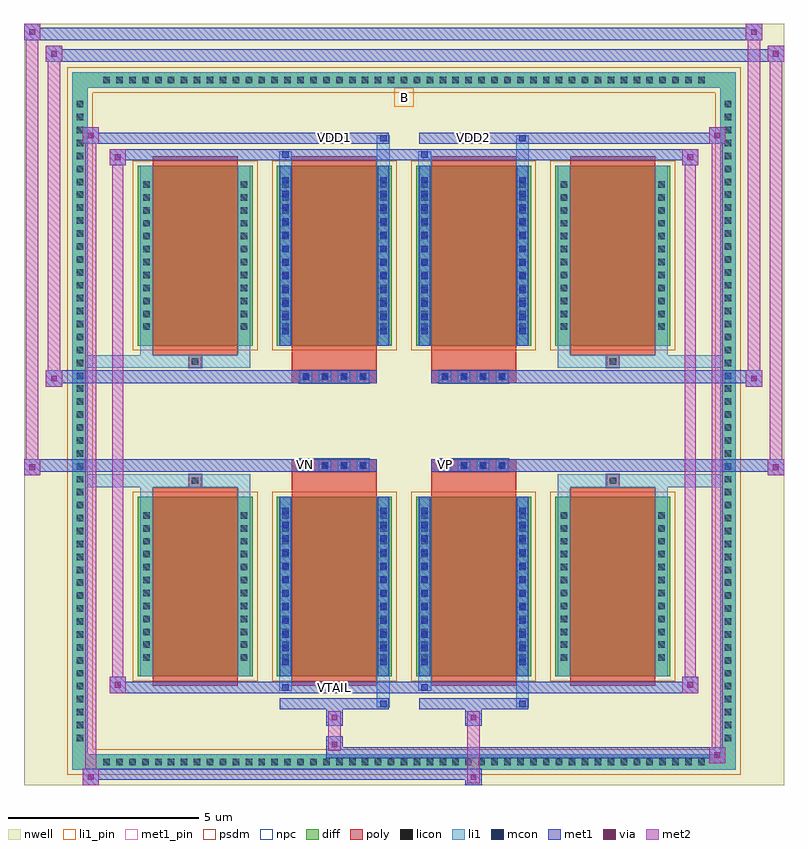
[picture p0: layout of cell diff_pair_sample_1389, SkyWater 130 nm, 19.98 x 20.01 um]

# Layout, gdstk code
import gdstk
lib = gdstk.Library(unit=1e-6, precision=5e-09)
def R(c, l, rs):  # rectangles x0, y0, x1, y1
    for r in rs: c.add(gdstk.rectangle(r[:2], r[2:], *l))
def A(c, l, x, y, w, h, nx, ny, dx, dy):  # array of equal rectangles
    R(c, l, [(x+i*dx, y+j*dy, x+i*dx+w, y+j*dy+h) for i in range(nx) for j in range(ny)])
def P(c, l, *ps):  # polygons
    for p in ps: c.add(gdstk.Polygon(p, *l))
nwell = (64, 20)
diff = (65, 20)
poly = (66, 20)
licon = (66, 44)
li1_pin = (67, 16)
li1 = (67, 20)
mcon = (67, 44)
met1_pin = (68, 16)
met1 = (68, 20)
via = (68, 44)
met2 = (69, 20)
psdm = (94, 20)
npc = (95, 20)

diff_pair_sample_1389 = lib.new_cell('diff_pair_sample_1389')
R(diff_pair_sample_1389, nwell, [(-9.99,-9.57,9.99,10.44), (-7.31,-7.76,-0.01,-0.8), (0.01,-7.76,7.31,-0.8), (-7.31,0.8,-0.01,7.76), (0.01,0.8,7.31,7.76)])
A(diff_pair_sample_1389, diff, -8.025, -9.17, 0.41, 0.41, 47, 2, 0.34, 17.93)
A(diff_pair_sample_1389, diff, -8.72, -8.535, 0.41, 0.41, 1, 50, 0, 0.34)
A(diff_pair_sample_1389, diff, 8.31, -8.535, 0.41, 0.41, 1, 50, 0, 0.34)
A(diff_pair_sample_1389, diff, -7, -6.715, 3.02, 4.73, 4, 2, 3.66, 8.7)
R(diff_pair_sample_1389, diff, [(-8.025,-9.17,8.025,-8.76), (-8.72,-8.535,-8.31,8.535), (8.31,-8.535,8.72,8.535), (-8.025,8.76,8.025,9.17)])
P(diff_pair_sample_1389, diff, [(8.72,9.17),(-8.72,9.17),(-8.72,-8.76),(-8.31,-8.76),(-8.31,8.76),(8.31,8.76),(8.31,-8.76),(-8.31,-8.76),(-8.72,-8.76),(-8.72,-9.17),(8.72,-9.17)])
A(diff_pair_sample_1389, poly, -6.61, -6.965, 2.24, 5.23, 4, 2, 3.66, 8.7)
A(diff_pair_sample_1389, poly, -2.745, -1.33, 0.33, 0.33, 4, 2, 0.5, 2.33)
A(diff_pair_sample_1389, poly, 0.915, -1.33, 0.33, 0.33, 4, 2, 0.5, 2.33)
R(diff_pair_sample_1389, poly, [(-5.655,-1.735,-5.325,-1.405), (-5.655,-1.735,-5.325,-1.405), (-2.95,-1.735,-0.71,-1.33), (0.71,-1.735,2.95,-1.33), (5.325,-1.735,5.655,-1.405), (5.325,-1.735,5.655,-1.405), (-2.95,-1.33,-0.71,-1), (0.71,-1.33,2.95,-1), (-2.95,1,-0.71,1.33), (0.71,1,2.95,1.33), (-2.95,1.33,-0.71,1.735), (0.71,1.33,2.95,1.735), (-5.655,1.405,-5.325,1.735), (-5.655,1.405,-5.325,1.735), (5.325,1.405,5.655,1.735), (5.325,1.405,5.655,1.735)])
A(diff_pair_sample_1389, licon, -7.905, -9.05, 0.17, 0.17, 47, 2, 0.34, 17.93)
A(diff_pair_sample_1389, licon, -8.6, -8.415, 0.17, 0.17, 1, 50, 0, 0.34)
A(diff_pair_sample_1389, licon, 8.43, -8.415, 0.17, 0.17, 1, 50, 0, 0.34)
A(diff_pair_sample_1389, licon, -6.86, -6.305, 0.17, 0.17, 1, 12, 0, 0.34)
A(diff_pair_sample_1389, licon, -4.29, -6.305, 0.17, 0.17, 1, 12, 0, 0.34)
A(diff_pair_sample_1389, licon, -3.2, -6.305, 0.17, 0.17, 1, 12, 0, 0.34)
A(diff_pair_sample_1389, licon, -0.63, -6.305, 0.17, 0.17, 1, 12, 0, 0.34)
A(diff_pair_sample_1389, licon, 0.46, -6.305, 0.17, 0.17, 1, 12, 0, 0.34)
A(diff_pair_sample_1389, licon, 3.03, -6.305, 0.17, 0.17, 1, 12, 0, 0.34)
A(diff_pair_sample_1389, licon, 4.12, -6.305, 0.17, 0.17, 1, 12, 0, 0.34)
A(diff_pair_sample_1389, licon, 6.69, -6.305, 0.17, 0.17, 1, 12, 0, 0.34)
A(diff_pair_sample_1389, licon, -2.665, -1.25, 0.17, 0.17, 4, 2, 0.5, 2.33)
A(diff_pair_sample_1389, licon, 0.995, -1.25, 0.17, 0.17, 4, 2, 0.5, 2.33)
A(diff_pair_sample_1389, licon, -6.86, 2.395, 0.17, 0.17, 1, 12, 0, 0.34)
A(diff_pair_sample_1389, licon, -4.29, 2.395, 0.17, 0.17, 1, 12, 0, 0.34)
A(diff_pair_sample_1389, licon, -3.2, 2.395, 0.17, 0.17, 1, 12, 0, 0.34)
A(diff_pair_sample_1389, licon, -0.63, 2.395, 0.17, 0.17, 1, 12, 0, 0.34)
A(diff_pair_sample_1389, licon, 0.46, 2.395, 0.17, 0.17, 1, 12, 0, 0.34)
A(diff_pair_sample_1389, licon, 3.03, 2.395, 0.17, 0.17, 1, 12, 0, 0.34)
A(diff_pair_sample_1389, licon, 4.12, 2.395, 0.17, 0.17, 1, 12, 0, 0.34)
A(diff_pair_sample_1389, licon, 6.69, 2.395, 0.17, 0.17, 1, 12, 0, 0.34)
R(diff_pair_sample_1389, licon, [(-5.575,-1.655,-5.405,-1.485), (5.405,-1.655,5.575,-1.485), (-5.575,1.485,-5.405,1.655), (5.405,1.485,5.575,1.655)])
R(diff_pair_sample_1389, li1_pin, [(-0.25,8.26,0.25,8.76)])
A(diff_pair_sample_1389, li1, -7.985, -9.13, 0.33, 0.33, 47, 2, 0.34, 17.93)
A(diff_pair_sample_1389, li1, -8.68, -8.495, 0.33, 0.33, 1, 50, 0, 0.34)
A(diff_pair_sample_1389, li1, 8.35, -8.495, 0.33, 0.33, 1, 50, 0, 0.34)
A(diff_pair_sample_1389, li1, -3.2, -6.415, 0.17, 0.17, 1, 12, 0, 0.36)
A(diff_pair_sample_1389, li1, -0.63, -6.415, 0.17, 0.17, 1, 12, 0, 0.36)
A(diff_pair_sample_1389, li1, 0.46, -6.415, 0.17, 0.17, 1, 12, 0, 0.36)
A(diff_pair_sample_1389, li1, 3.03, -6.415, 0.17, 0.17, 1, 12, 0, 0.36)
A(diff_pair_sample_1389, li1, -6.94, -6.385, 0.33, 0.33, 1, 12, 0, 0.34)
A(diff_pair_sample_1389, li1, -4.37, -6.385, 0.33, 0.33, 1, 12, 0, 0.34)
A(diff_pair_sample_1389, li1, -3.28, -6.385, 0.33, 0.33, 1, 12, 0, 0.34)
A(diff_pair_sample_1389, li1, -0.71, -6.385, 0.33, 0.33, 1, 12, 0, 0.34)
A(diff_pair_sample_1389, li1, 0.38, -6.385, 0.33, 0.33, 1, 12, 0, 0.34)
A(diff_pair_sample_1389, li1, 2.95, -6.385, 0.33, 0.33, 1, 12, 0, 0.34)
A(diff_pair_sample_1389, li1, 4.04, -6.385, 0.33, 0.33, 1, 12, 0, 0.34)
A(diff_pair_sample_1389, li1, 6.61, -6.385, 0.33, 0.33, 1, 12, 0, 0.34)
A(diff_pair_sample_1389, li1, -2.745, -1.33, 0.33, 0.33, 4, 2, 0.5, 2.33)
A(diff_pair_sample_1389, li1, 0.915, -1.33, 0.33, 0.33, 4, 2, 0.5, 2.33)
A(diff_pair_sample_1389, li1, -3.2, 2.285, 0.17, 0.17, 1, 12, 0, 0.36)
A(diff_pair_sample_1389, li1, -0.63, 2.285, 0.17, 0.17, 1, 12, 0, 0.36)
A(diff_pair_sample_1389, li1, 0.46, 2.285, 0.17, 0.17, 1, 12, 0, 0.36)
A(diff_pair_sample_1389, li1, 3.03, 2.285, 0.17, 0.17, 1, 12, 0, 0.36)
A(diff_pair_sample_1389, li1, -6.94, 2.315, 0.33, 0.33, 1, 12, 0, 0.34)
A(diff_pair_sample_1389, li1, -4.37, 2.315, 0.33, 0.33, 1, 12, 0, 0.34)
A(diff_pair_sample_1389, li1, -3.28, 2.315, 0.33, 0.33, 1, 12, 0, 0.34)
A(diff_pair_sample_1389, li1, -0.71, 2.315, 0.33, 0.33, 1, 12, 0, 0.34)
A(diff_pair_sample_1389, li1, 0.38, 2.315, 0.33, 0.33, 1, 12, 0, 0.34)
A(diff_pair_sample_1389, li1, 2.95, 2.315, 0.33, 0.33, 1, 12, 0, 0.34)
A(diff_pair_sample_1389, li1, 4.04, 2.315, 0.33, 0.33, 1, 12, 0, 0.34)
A(diff_pair_sample_1389, li1, 6.61, 2.315, 0.33, 0.33, 1, 12, 0, 0.34)
R(diff_pair_sample_1389, li1, [(-8.72,-9.17,-8.31,-8.76), (-8.72,-9.17,-8.31,-8.76), (-8.31,-9.17,8.31,-8.76), (8.31,-9.17,8.72,-8.76), (8.31,-9.17,8.72,-8.76), (-8.72,-8.76,-8.31,8.76), (8.31,-8.76,8.72,8.76), (-0.71,-7.52,-0.38,-6.715), (-0.63,-7.52,-0.46,-7.35), (2.95,-7.52,3.28,-6.715), (3.03,-7.52,3.2,-7.35), (-3.28,-7.09,-2.95,-6.715), (-3.2,-7.09,-3.03,-6.92), (0.38,-7.09,0.71,-6.715), (0.46,-7.09,0.63,-6.92), (-6.94,-6.715,-6.61,-1.985), (-4.37,-6.715,-4.04,-1.985), (-3.28,-6.715,-2.95,-1.985), (-0.71,-6.715,-0.38,-1.985), (0.38,-6.715,0.71,-1.985), (2.95,-6.715,3.28,-1.985), (4.04,-6.715,4.37,-1.985), (6.61,-6.715,6.94,-1.985), (-3.2,-6.415,-3.03,-2.285), (-0.63,-6.415,-0.46,-2.285), (0.46,-6.415,0.63,-2.285), (3.03,-6.415,3.2,-2.285), (-6.94,-1.985,-6.61,-1.405), (-4.37,-1.985,-4.04,-1.405), (4.04,-1.985,4.37,-1.405), (6.61,-1.985,6.94,-1.405), (-8.72,-1.735,-5.655,-1.405), (-6.94,-1.735,-5.655,-1.405), (-5.655,-1.735,-5.325,-1.405), (-5.325,-1.735,-4.04,-1.405), (4.04,-1.735,5.325,-1.405), (5.325,-1.735,5.655,-1.405), (5.325,-1.735,8.72,-1.405), (5.655,-1.735,6.94,-1.405), (-8.72,1.405,-5.655,1.735), (-6.94,1.405,-5.655,1.735), (-6.94,1.405,-6.61,1.985), (-5.655,1.405,-5.325,1.735), (-5.325,1.405,-4.04,1.735), (-4.37,1.405,-4.04,1.985), (4.04,1.405,5.325,1.735), (4.04,1.405,4.37,1.985), (5.325,1.405,5.655,1.735), (5.325,1.405,8.72,1.735), (5.655,1.405,6.94,1.735), (6.61,1.405,6.94,1.985), (-6.94,1.985,-6.61,6.715), (-4.37,1.985,-4.04,6.715), (-3.28,1.985,-2.95,6.715), (-0.71,1.985,-0.38,6.715), (0.38,1.985,0.71,6.715), (2.95,1.985,3.28,6.715), (4.04,1.985,4.37,6.715), (6.61,1.985,6.94,6.715), (-3.2,2.285,-3.03,6.415), (-0.63,2.285,-0.46,6.415), (0.46,2.285,0.63,6.415), (3.03,2.285,3.2,6.415), (-3.28,6.715,-2.95,7.09), (-0.71,6.715,-0.38,7.52), (0.38,6.715,0.71,7.09), (2.95,6.715,3.28,7.52), (-3.2,6.92,-3.03,7.09), (0.46,6.92,0.63,7.09), (-0.63,7.35,-0.46,7.52), (3.03,7.35,3.2,7.52), (-8.72,8.76,-8.31,9.17), (-8.72,8.76,-8.31,9.17), (-8.31,8.76,8.31,9.17), (8.31,8.76,8.72,9.17), (8.31,8.76,8.72,9.17)])
A(diff_pair_sample_1389, mcon, -3.2, -6.415, 0.17, 0.17, 1, 12, 0, 0.36)
A(diff_pair_sample_1389, mcon, -0.63, -6.415, 0.17, 0.17, 1, 12, 0, 0.36)
A(diff_pair_sample_1389, mcon, 0.46, -6.415, 0.17, 0.17, 1, 12, 0, 0.36)
A(diff_pair_sample_1389, mcon, 3.03, -6.415, 0.17, 0.17, 1, 12, 0, 0.36)
A(diff_pair_sample_1389, mcon, -2.665, -1.25, 0.17, 0.17, 4, 2, 0.5, 2.33)
A(diff_pair_sample_1389, mcon, 0.995, -1.25, 0.17, 0.17, 4, 2, 0.5, 2.33)
A(diff_pair_sample_1389, mcon, -3.2, 2.285, 0.17, 0.17, 1, 12, 0, 0.36)
A(diff_pair_sample_1389, mcon, -0.63, 2.285, 0.17, 0.17, 1, 12, 0, 0.36)
A(diff_pair_sample_1389, mcon, 0.46, 2.285, 0.17, 0.17, 1, 12, 0, 0.36)
A(diff_pair_sample_1389, mcon, 3.03, 2.285, 0.17, 0.17, 1, 12, 0, 0.36)
R(diff_pair_sample_1389, mcon, [(-0.63,-7.52,-0.46,-7.35), (3.03,-7.52,3.2,-7.35), (-3.2,-7.09,-3.03,-6.92), (0.46,-7.09,0.63,-6.92), (-3.2,6.92,-3.03,7.09), (0.46,6.92,0.63,7.09), (-0.63,7.35,-0.46,7.52), (3.03,7.35,3.2,7.52)])
R(diff_pair_sample_1389, met1_pin, [(-1.965,-7.13,-1.695,-6.86), (-2.715,-1.29,-2.445,-1.02), (0.945,-1.29,1.215,-1.02), (-1.965,7.31,-1.695,7.58), (1.695,7.31,1.965,7.58)])
A(diff_pair_sample_1389, met1, -3.26, -6.475, 0.29, 0.29, 1, 12, 0, 0.36)
A(diff_pair_sample_1389, met1, -0.69, -6.475, 0.29, 0.29, 1, 12, 0, 0.36)
A(diff_pair_sample_1389, met1, 0.4, -6.475, 0.29, 0.29, 1, 12, 0, 0.36)
A(diff_pair_sample_1389, met1, 2.97, -6.475, 0.29, 0.29, 1, 12, 0, 0.36)
A(diff_pair_sample_1389, met1, -2.725, -1.31, 0.29, 0.29, 4, 2, 0.5, 2.33)
A(diff_pair_sample_1389, met1, 0.935, -1.31, 0.29, 0.29, 4, 2, 0.5, 2.33)
A(diff_pair_sample_1389, met1, -3.26, 2.225, 0.29, 0.29, 1, 12, 0, 0.36)
A(diff_pair_sample_1389, met1, -0.69, 2.225, 0.29, 0.29, 1, 12, 0, 0.36)
A(diff_pair_sample_1389, met1, 0.4, 2.225, 0.29, 0.29, 1, 12, 0, 0.36)
A(diff_pair_sample_1389, met1, 2.97, 2.225, 0.29, 0.29, 1, 12, 0, 0.36)
R(diff_pair_sample_1389, met1, [(-8.45,-9.57,-8.02,-9.14), (1.615,-9.57,2.045,-9.14), (-8.45,-9.43,2.045,-9.14), (8.02,-9,8.45,-8.57), (-2.045,-8.86,8.45,-8.57), (-2.045,-8.72,-1.615,-8.29), (-2.045,-8.01,-1.615,-7.58), (1.615,-8.01,2.045,-7.58), (-3.26,-7.58,-0.4,-7.29), (-0.69,-7.58,-0.4,-7.29), (0.4,-7.58,3.26,-7.29), (2.97,-7.58,3.26,-7.29), (-7.74,-7.15,-7.31,-6.72), (-7.74,-7.15,-3.26,-6.86), (-3.26,-7.15,-2.97,-6.86), (-3.26,-7.15,-0.4,-6.86), (-0.4,-7.15,0.4,-6.86), (0.4,-7.15,0.69,-6.86), (0.4,-7.15,3.26,-6.86), (3.26,-7.15,7.74,-6.86), (7.31,-7.15,7.74,-6.72), (-3.26,-6.715,-2.97,-1.985), (-0.69,-6.715,-0.4,-1.985), (0.4,-6.715,0.69,-1.985), (2.97,-6.715,3.26,-1.985), (-9.99,-1.43,-9.56,-1), (9.56,-1.43,9.99,-1), (-9.99,-1.33,-0.71,-1), (-2.95,-1.33,-0.71,-1), (0.71,-1.33,2.95,-1), (0.71,-1.33,9.99,-1), (-9.42,0.9,-8.99,1.33), (8.99,0.9,9.42,1.33), (-9.42,1,-2.95,1.33), (-2.95,1,-0.71,1.33), (0.71,1,2.95,1.33), (2.95,1,9.42,1.33), (-3.26,1.985,-2.97,6.715), (-0.69,1.985,-0.4,6.715), (0.4,1.985,0.69,6.715), (2.97,1.985,3.26,6.715), (-7.74,6.72,-7.31,7.15), (7.31,6.72,7.74,7.15), (-7.74,6.86,-3.26,7.15), (-3.26,6.86,-2.97,7.15), (-3.26,6.86,-0.4,7.15), (-0.4,6.86,0.4,7.15), (0.4,6.86,0.69,7.15), (0.4,6.86,3.26,7.15), (3.26,6.86,7.74,7.15), (-8.45,7.29,-8.02,7.72), (-8.45,7.29,-3.26,7.58), (-3.26,7.29,-0.4,7.58), (-0.69,7.29,-0.4,7.58), (0.4,7.29,3.26,7.58), (2.97,7.29,3.26,7.58), (3.26,7.29,8.45,7.58), (8.02,7.29,8.45,7.72), (-9.42,9.44,-8.99,9.87), (-9.42,9.44,-7.31,9.77), (-7.31,9.44,7.31,9.77), (7.31,9.44,9.99,9.77), (9.56,9.44,9.99,9.87), (-9.99,10.01,-9.56,10.44), (-9.99,10.01,-7.31,10.34), (-7.31,10.01,7.31,10.34), (7.31,10.01,9.42,10.34), (8.99,10.01,9.42,10.44)])
R(diff_pair_sample_1389, via, [(-8.31,-9.43,-8.16,-9.28), (1.755,-9.43,1.905,-9.28), (8.16,-8.86,8.31,-8.71), (-1.905,-8.58,-1.755,-8.43), (-1.905,-7.87,-1.755,-7.72), (1.755,-7.87,1.905,-7.72), (-7.6,-7.01,-7.45,-6.86), (7.45,-7.01,7.6,-6.86), (-9.85,-1.29,-9.7,-1.14), (9.7,-1.29,9.85,-1.14), (-9.28,1.04,-9.13,1.19), (9.13,1.04,9.28,1.19), (-7.6,6.86,-7.45,7.01), (7.45,6.86,7.6,7.01), (-8.31,7.43,-8.16,7.58), (8.16,7.43,8.31,7.58), (-9.28,9.58,-9.13,9.73), (9.7,9.58,9.85,9.73), (-9.85,10.15,-9.7,10.3), (9.13,10.15,9.28,10.3)])
R(diff_pair_sample_1389, met2, [(-8.45,-9.57,-8.02,-9.14), (-8.38,-9.57,-8.09,7.72), (-8.09,-9.57,-8.02,-9.14), (-8.4,-9.52,-8.07,-9.19), (1.665,-9.52,1.995,-9.19), (1.665,-9.19,1.995,-7.96), (8.02,-9,8.45,-8.57), (8.09,-9,8.38,7.72), (8.38,-9,8.45,-8.57), (8.07,-8.95,8.4,-8.62), (-1.995,-8.67,-1.665,-8.34), (-1.995,-8.34,-1.665,-7.96), (-1.995,-7.96,-1.665,-7.63), (1.665,-7.96,1.995,-7.63), (-7.74,-7.15,-7.31,-6.72), (-7.67,-7.15,-7.38,7.15), (-7.38,-7.15,-7.31,-6.72), (7.31,-7.15,7.74,-6.72), (7.38,-7.15,7.67,7.15), (7.67,-7.15,7.74,-6.72), (-7.69,-7.1,-7.36,-6.77), (7.36,-7.1,7.69,-6.77), (-9.99,-1.43,-9.56,-1), (-9.94,-1.43,-9.61,10.44), (-9.61,-1.43,-9.56,-1), (9.56,-1.43,9.99,-1), (9.61,-1.43,9.94,9.87), (9.94,-1.43,9.99,-1), (-9.94,-1.38,-9.61,-1.05), (9.61,-1.38,9.94,-1.05), (-9.42,0.9,-8.99,1.33), (-9.37,0.9,-9.04,9.87), (-9.04,0.9,-8.99,1.33), (8.99,0.9,9.42,1.33), (9.04,0.9,9.37,10.44), (9.37,0.9,9.42,1.33), (-9.37,0.95,-9.04,1.28), (9.04,0.95,9.37,1.28), (-7.74,6.72,-7.31,7.15), (-7.38,6.72,-7.31,7.15), (7.31,6.72,7.74,7.15), (7.67,6.72,7.74,7.15), (-7.69,6.77,-7.36,7.1), (7.36,6.77,7.69,7.1), (-8.45,7.29,-8.02,7.72), (-8.09,7.29,-8.02,7.72), (8.02,7.29,8.45,7.72), (8.38,7.29,8.45,7.72), (-8.4,7.34,-8.07,7.67), (8.07,7.34,8.4,7.67), (-9.42,9.44,-8.99,9.87), (-9.04,9.44,-8.99,9.87), (9.56,9.44,9.99,9.87), (9.94,9.44,9.99,9.87), (-9.37,9.49,-9.04,9.82), (9.61,9.49,9.94,9.82), (-9.99,10.01,-9.56,10.44), (-9.61,10.01,-9.56,10.44), (8.99,10.01,9.42,10.44), (9.37,10.01,9.42,10.44), (-9.94,10.06,-9.61,10.39), (9.04,10.06,9.37,10.39)])
A(diff_pair_sample_1389, psdm, -7.13, -6.845, 3.28, 4.99, 4, 2, 3.66, 8.7)
P(diff_pair_sample_1389, psdm, [(8.85,9.3),(-8.85,9.3),(-8.85,-8.63),(-8.18,-8.63),(-8.18,8.63),(8.18,8.63),(8.18,-8.63),(-8.18,-8.63),(-8.85,-8.63),(-8.85,-9.3),(8.85,-9.3)])
A(diff_pair_sample_1389, npc, -2.765, -1.35, 0.37, 0.37, 4, 2, 0.5, 2.33)
A(diff_pair_sample_1389, npc, 0.895, -1.35, 0.37, 0.37, 4, 2, 0.5, 2.33)
R(diff_pair_sample_1389, npc, [(-5.675,-1.755,-5.305,-1.385), (5.305,-1.755,5.675,-1.385), (-2.765,-1.35,-1.895,-0.98), (-2.765,-1.35,-1.895,-0.98), (-2.265,-1.35,-1.395,-0.98), (-2.265,-1.35,-1.395,-0.98), (-1.765,-1.35,-0.895,-0.98), (-1.765,-1.35,-0.895,-0.98), (0.895,-1.35,1.765,-0.98), (0.895,-1.35,1.765,-0.98), (1.395,-1.35,2.265,-0.98), (1.395,-1.35,2.265,-0.98), (1.895,-1.35,2.765,-0.98), (1.895,-1.35,2.765,-0.98), (-2.765,0.98,-1.895,1.35), (-2.765,0.98,-1.895,1.35), (-2.265,0.98,-1.395,1.35), (-2.265,0.98,-1.395,1.35), (-1.765,0.98,-0.895,1.35), (-1.765,0.98,-0.895,1.35), (0.895,0.98,1.765,1.35), (0.895,0.98,1.765,1.35), (1.395,0.98,2.265,1.35), (1.395,0.98,2.265,1.35), (1.895,0.98,2.765,1.35), (1.895,0.98,2.765,1.35), (-5.675,1.385,-5.305,1.755), (5.305,1.385,5.675,1.755)])
diff_pair_sample_1389.add(gdstk.Label('VTAIL', (-1.83,-6.995), layer=68, texttype=5))
diff_pair_sample_1389.add(gdstk.Label('VN', (-2.58,-1.155), layer=68, texttype=5))
diff_pair_sample_1389.add(gdstk.Label('VP', (1.08,-1.155), layer=68, texttype=5))
diff_pair_sample_1389.add(gdstk.Label('B', (0,8.51), layer=67, texttype=5))
diff_pair_sample_1389.add(gdstk.Label('VDD2', (1.83,7.445), layer=68, texttype=5))
diff_pair_sample_1389.add(gdstk.Label('VDD1', (-1.83,7.445), layer=68, texttype=5))

lib.write_gds('diff_pair_sample_1389.gds')
